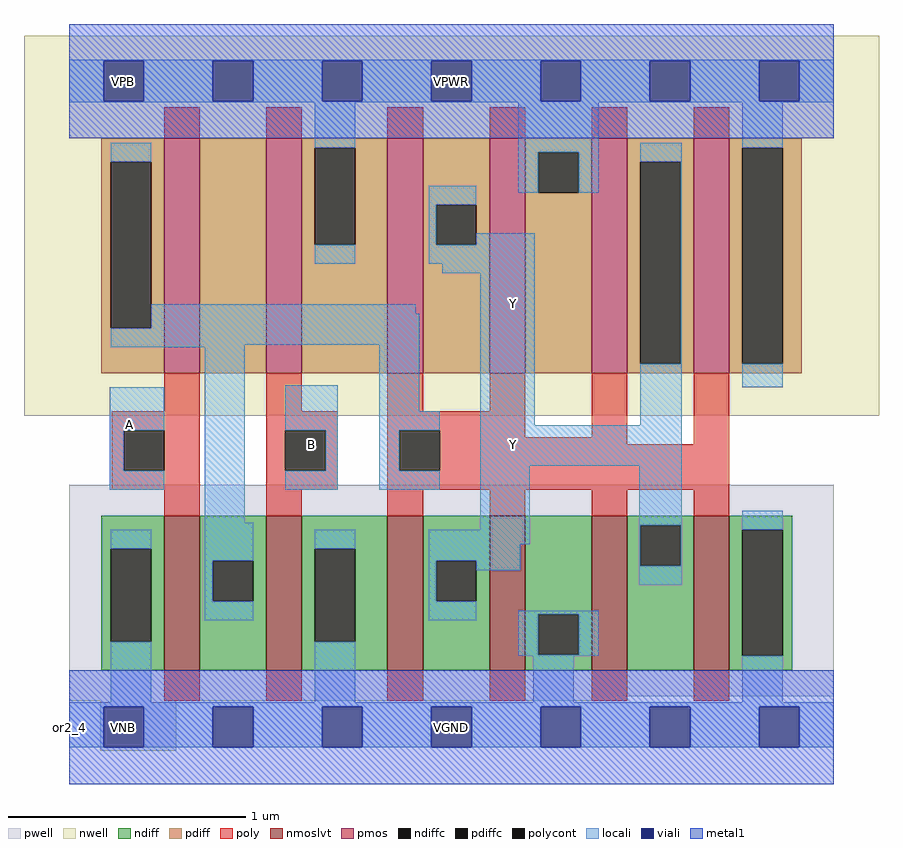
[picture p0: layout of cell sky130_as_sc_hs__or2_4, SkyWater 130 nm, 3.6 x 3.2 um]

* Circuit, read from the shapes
.subckt sky130_as_sc_hs__or2_4 VNB VPB VPWR VGND A B Y
XM1 n1 A VGND VNB sky130_fd_pr__nfet_01v8_lvt w=0.65 l=0.15
XM2 VGND B n1 VNB sky130_fd_pr__nfet_01v8_lvt w=0.65 l=0.15
XM3 Y n1 VGND VNB sky130_fd_pr__nfet_01v8_lvt w=0.65 l=0.15 m=4
XM4 n2 A n1 VPB sky130_fd_pr__pfet_01v8 w=0.99 l=0.15
XM5 VPWR B n2 VPB sky130_fd_pr__pfet_01v8 w=0.99 l=0.15
XM6 Y n1 VPWR VPB sky130_fd_pr__pfet_01v8 w=0.99 l=0.15 m=4
.ends

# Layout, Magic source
magic
tech sky130A
magscale 1 2
<< nwell >>
rect -38 262 682 582
<< pwell >>
rect 0 26 644 204
rect 0 22 460 26
rect 26 -20 90 22
<< pmos >>
rect 80 298 110 496
rect 166 298 196 496
rect 268 298 298 496
rect 354 298 384 496
rect 440 298 470 496
rect 526 298 556 496
<< nmoslvt >>
rect 80 48 110 178
rect 166 48 196 178
rect 268 48 298 178
rect 354 48 384 178
rect 440 48 470 178
rect 526 48 556 178
<< ndiff >>
rect 27 150 80 178
rect 27 72 35 150
rect 69 72 80 150
rect 27 48 80 72
rect 110 140 166 178
rect 110 106 121 140
rect 155 106 166 140
rect 110 48 166 106
rect 196 150 268 178
rect 196 72 207 150
rect 241 72 268 150
rect 196 48 268 72
rect 298 140 354 178
rect 298 106 309 140
rect 343 106 354 140
rect 298 48 354 106
rect 384 95 440 178
rect 384 61 395 95
rect 429 61 440 95
rect 384 48 440 61
rect 470 170 526 178
rect 470 136 481 170
rect 515 136 526 170
rect 470 48 526 136
rect 556 166 609 178
rect 556 60 567 166
rect 601 60 609 166
rect 556 48 609 60
<< pdiff >>
rect 27 476 80 496
rect 27 336 35 476
rect 69 336 80 476
rect 27 298 80 336
rect 110 298 166 496
rect 196 488 268 496
rect 196 406 207 488
rect 241 406 268 488
rect 196 298 268 406
rect 298 440 354 496
rect 298 406 309 440
rect 343 406 354 440
rect 298 298 354 406
rect 384 484 440 496
rect 384 450 395 484
rect 429 450 440 484
rect 384 298 440 450
rect 470 476 526 496
rect 470 306 481 476
rect 515 306 526 476
rect 470 298 526 306
rect 556 488 617 496
rect 556 306 567 488
rect 601 306 617 488
rect 556 298 617 306
<< ndiffc >>
rect 35 72 69 150
rect 121 106 155 140
rect 207 72 241 150
rect 309 106 343 140
rect 395 61 429 95
rect 481 136 515 170
rect 567 60 601 166
<< pdiffc >>
rect 35 336 69 476
rect 207 406 241 488
rect 309 406 343 440
rect 395 450 429 484
rect 481 306 515 476
rect 567 306 601 488
<< poly >>
rect 80 496 110 522
rect 166 496 196 522
rect 268 496 298 522
rect 354 496 384 522
rect 440 496 470 522
rect 526 496 556 522
rect 80 266 110 298
rect 36 250 110 266
rect 36 216 46 250
rect 80 216 110 250
rect 36 200 110 216
rect 80 178 110 200
rect 166 266 196 298
rect 268 266 298 298
rect 354 266 384 298
rect 166 250 226 266
rect 166 216 182 250
rect 216 216 226 250
rect 166 200 226 216
rect 268 250 384 266
rect 268 216 278 250
rect 312 244 384 250
rect 440 244 470 298
rect 312 238 470 244
rect 526 238 556 298
rect 312 216 556 238
rect 268 200 556 216
rect 166 178 196 200
rect 268 178 298 200
rect 354 178 384 200
rect 440 178 470 200
rect 526 178 556 200
rect 80 22 110 48
rect 166 22 196 48
rect 268 22 298 48
rect 354 22 384 48
rect 440 22 470 48
rect 526 22 556 48
<< polycont >>
rect 46 216 80 250
rect 182 216 216 250
rect 278 216 312 250
<< locali >>
rect 0 561 644 562
rect 0 527 29 561
rect 63 527 121 561
rect 155 527 213 561
rect 247 527 305 561
rect 339 527 397 561
rect 431 527 489 561
rect 523 527 581 561
rect 615 527 644 561
rect 0 526 644 527
rect 35 476 69 492
rect 207 488 241 526
rect 378 484 446 526
rect 207 390 241 406
rect 303 440 343 456
rect 378 450 395 484
rect 429 450 446 484
rect 481 476 516 492
rect 303 406 309 440
rect 343 406 392 416
rect 303 390 392 406
rect 314 382 392 390
rect 69 348 292 356
rect 69 336 295 348
rect 35 322 295 336
rect 35 320 148 322
rect 34 250 80 286
rect 34 216 46 250
rect 34 200 80 216
rect 114 172 148 320
rect 182 250 226 288
rect 216 216 226 250
rect 182 200 226 216
rect 261 266 295 322
rect 261 250 312 266
rect 261 216 278 250
rect 261 200 312 216
rect 346 254 392 382
rect 515 306 516 476
rect 481 254 516 306
rect 567 488 601 526
rect 567 286 601 306
rect 346 220 516 254
rect 35 150 69 166
rect 114 140 155 172
rect 346 166 388 220
rect 114 106 121 140
rect 114 90 155 106
rect 207 150 241 166
rect 35 21 69 72
rect 303 154 388 166
rect 480 170 516 220
rect 303 140 380 154
rect 303 106 309 140
rect 343 132 380 140
rect 480 136 481 170
rect 515 136 516 170
rect 480 120 516 136
rect 567 166 601 182
rect 303 90 343 106
rect 378 95 446 98
rect 207 21 241 72
rect 378 61 395 95
rect 429 61 446 95
rect 378 60 446 61
rect 391 21 425 60
rect 567 21 601 60
rect 0 17 644 21
rect 0 -17 29 17
rect 63 -17 121 17
rect 155 -17 213 17
rect 247 -17 305 17
rect 339 -17 397 17
rect 431 -17 489 17
rect 523 -17 581 17
rect 615 -17 644 17
<< viali >>
rect 29 527 63 561
rect 121 527 155 561
rect 213 527 247 561
rect 305 527 339 561
rect 397 527 431 561
rect 489 527 523 561
rect 581 527 615 561
rect 29 -17 63 17
rect 121 -17 155 17
rect 213 -17 247 17
rect 305 -17 339 17
rect 397 -17 431 17
rect 489 -17 523 17
rect 581 -17 615 17
<< metal1 >>
rect 0 561 644 592
rect 0 527 29 561
rect 63 527 121 561
rect 155 527 213 561
rect 247 527 305 561
rect 339 527 397 561
rect 431 527 489 561
rect 523 527 581 561
rect 615 527 644 561
rect 0 496 644 527
rect 0 17 644 48
rect 0 -17 29 17
rect 63 -17 121 17
rect 155 -17 213 17
rect 247 -17 305 17
rect 339 -17 397 17
rect 431 -17 489 17
rect 523 -17 581 17
rect 615 -17 644 17
rect 0 -48 644 -17
<< labels >>
rlabel comment s 0 0 0 0 4 or2_4
flabel pwell s 29 -17 63 17 0 FreeSans 200 0 0 0 VNB
port 1 nsew ground bidirectional
flabel pwell s 46 0 46 0 0 FreeSans 200 0 0 0 VNB
flabel nwell s 29 527 63 561 0 FreeSans 200 0 0 0 VPB
port 2 nsew power bidirectional
flabel nwell s 46 544 46 544 0 FreeSans 200 0 0 0 VPB
flabel metal1 s 29 527 63 561 0 FreeSans 200 0 0 0 VPWR
port 3 nsew power bidirectional abutment
flabel metal1 s 29 -17 63 17 0 FreeSans 200 0 0 0 VGND
port 4 nsew ground bidirectional abutment
rlabel metal1 s 0 -48 644 48 1 VGND
port 4 nsew ground bidirectional abutment
rlabel metal1 s 0 496 644 592 1 VPWR
port 3 nsew power bidirectional abutment
flabel locali s 34 238 68 272 0 FreeSans 200 0 0 0 A
port 5 nsew signal input
flabel locali s 51 255 51 255 0 FreeSans 200 0 0 0 A
flabel locali s 187 221 221 255 0 FreeSans 200 0 0 0 B
port 6 nsew signal input
flabel locali s 204 238 204 238 0 FreeSans 200 0 0 0 B
flabel locali s 357 221 391 255 0 FreeSans 200 0 0 0 Y
port 7 nsew signal output
flabel locali s 375 238 375 238 0 FreeSans 200 0 0 0 Y
flabel locali s 357 340 391 374 0 FreeSans 200 0 0 0 Y
port 7 nsew signal output
flabel locali s 375 357 375 357 0 FreeSans 200 0 0 0 Y
<< properties >>
string FIXED_BBOX 0 0 644 544
string GDS_FILE $PDKPATH/libs.ref/sky130_as_sc_hs/gds/sky130_as_sc_hs__or2_4.gds
string LEFclass CORE
string LEFsite unithd
string LEFsymmetry X Y R90
string MASKHINTS_LVTN 0 -4 644 220
string MASKHINTS_NSDM 0 -38 644 209
string MASKHINTS_PSDM 0 273 644 582
<< end >>
